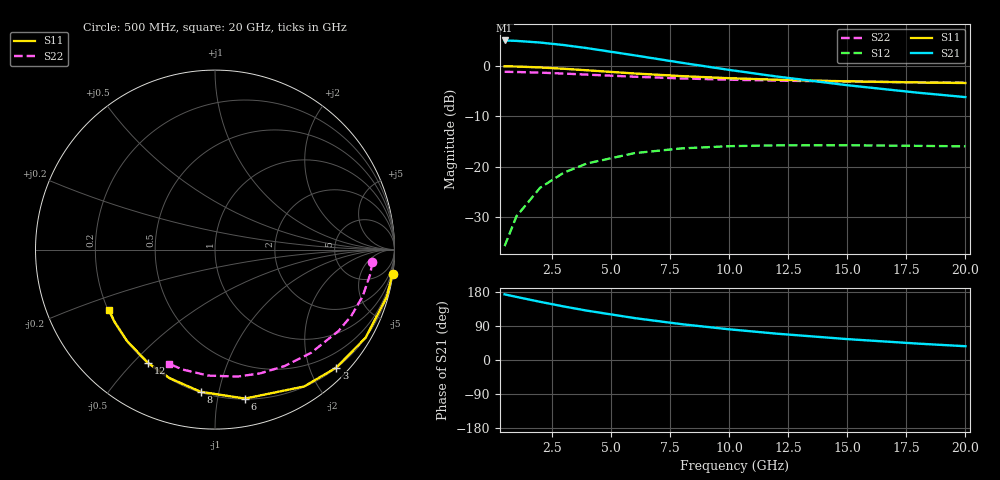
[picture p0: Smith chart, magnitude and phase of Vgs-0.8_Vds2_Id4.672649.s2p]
# Hz S RI R 50
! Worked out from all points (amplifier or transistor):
!   12 points, 500 MHz to 20 GHz, reference 50 ohm
!   highest |S21| = 5.1 dB at 500 MHz (marker M1)
!   |S21| within 3 dB of that: start of sweep to 6.05 GHz
!   unconditionally stable (mu >= 1): 13.65 GHz to end of sweep
!   at 2 GHz: K = 0.12, MSG = 14.5 dB, |S12| = -24.2 dB
!   at 8 GHz: K = 0.52, MSG = 8.5 dB, |S12| = -16.4 dB
!   at 20 GHz: K = 1.70, MAG = 0.0 dB, |S12| = -16.0 dB
!   S11 on the Smith chart (normalised r, x): 500 MHz: 0, -15; 3 GHz: 0.21, -2.45; 6 GHz: 0.20, -1.20; 8 GHz: 0.20, -0.88; 12 GHz: 0.20, -0.55; 20 GHz: 0.20, -0.25
5e8  0.989 -0.1345  -1.792 0.2123  0.00155 0.0161  0.8766 -0.0686
1e9  0.9568 -0.264  -1.737 0.4158  0.00608 0.0314  0.8653 -0.1357
2e9  0.8394 -0.4904  -1.54 0.7666  0.0225 0.0573  0.8228 -0.2602
3e9  0.676 -0.6574  -1.268 1.015  0.0451 0.0745  0.7611 -0.3664
4e9  0.4967 -0.7626  -0.9736 1.157  0.0693 0.0827  0.6887 -0.4531
6e9  0.1678 -0.8299  -0.4511 1.201  0.1112 0.0791  0.5355 -0.575
8e9  -0.0802 -0.7923  -0.0845 1.078  0.1389 0.062  0.3876 -0.6487
1e10  -0.2535 -0.716  0.1433 0.9077  0.1543 0.042  0.2511 -0.6898
1.2e10  -0.3735 -0.631  0.276 0.7408  0.1614 0.0231  0.126 -0.7075
1.5e10  -0.4901 -0.5092  0.3696 0.5307  0.1633 -0.000146  -0.0398 -0.7017
1.8e10  -0.5605 -0.401  0.3968 0.3729  0.1602 -0.0176  -0.1794 -0.6683
2e10  -0.5913 -0.3365  0.3967 0.2918  0.157 -0.0266  -0.2585 -0.6356
